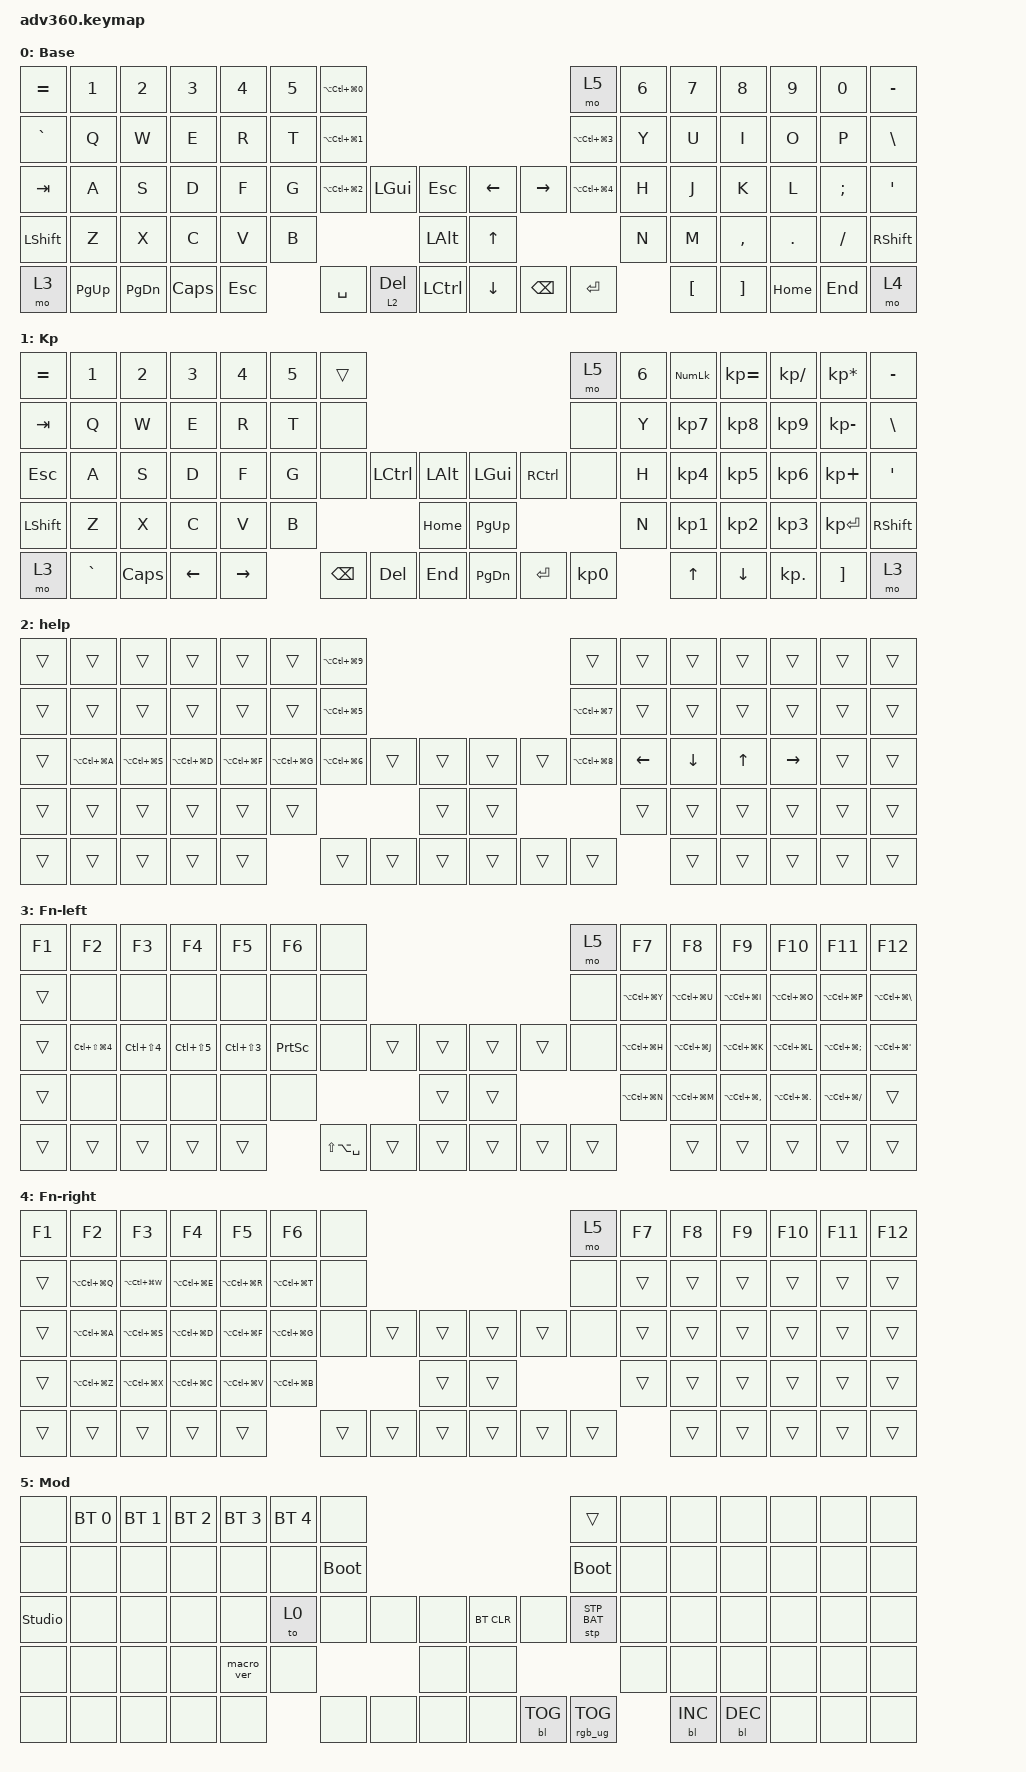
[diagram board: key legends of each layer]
#include <dt-bindings/zmk/stp.h>
#include <behaviors.dtsi>
#include <dt-bindings/zmk/backlight.h>
#include <dt-bindings/zmk/bt.h>
#include <dt-bindings/zmk/keys.h>
#include <dt-bindings/zmk/rgb.h>

/ {
    behaviors {
        #include "macros.dtsi"
      #include "version.dtsi"

        hm: homerow_mods {
            compatible = "zmk,behavior-hold-tap";
            label = "HOMEROW_MODS";
            #binding-cells = <2>;
            tapping-term-ms = <200>;
            quick_tap_ms = <175>;
            flavor = "tap-preferred";
            bindings = <&kp>, <&kp>;
        };

        ht_layer: ht_layer {
            compatible = "zmk,behavior-hold-tap";
            label = "HT_LAYER";
            bindings = <&mo>, <&kp>;

            #binding-cells = <2>;
            tapping-term-ms = <300>;
            flavor = "tap-preferred";
        };
    };

    macros {
        new_macro: new_macro {
            compatible = "zmk,behavior-macro";
            #binding-cells = <0>;
            bindings = <&caps_word>;
            label = "NEW_MACRO";
        };
    };

    keymap {
        compatible = "zmk,keymap";

        default_layer {
            display-name = "Base";
            bindings = <
&kp EQUAL  &kp N1       &kp N2         &kp N3    &kp N4      &kp N5  &kp LA(LC(LG(N0)))                                                                         &mo 5               &kp N6  &kp N7            &kp N8             &kp N9    &kp N0    &kp MINUS
&kp GRAVE  &kp Q        &kp W          &kp E     &kp R       &kp T   &kp LA(LC(LG(N1)))                                                                         &kp LA(LC(LG(N3)))  &kp Y   &kp U             &kp I              &kp O     &kp P     &kp BSLH
&kp TAB    &kp A        &kp S          &kp D     &kp F       &kp G   &kp LA(LC(LG(N2)))  &kp LGUI            &kp ESCAPE        &kp LEFT_ARROW  &kp RIGHT_ARROW  &kp LA(LC(LG(N4)))  &kp H   &kp J             &kp K              &kp L     &kp SEMI  &kp SQT
&kp LSHFT  &kp Z        &kp X          &kp C     &kp V       &kp B                                           &kp LEFT_ALT      &kp UP_ARROW                                         &kp N   &kp M             &kp COMMA          &kp DOT   &kp FSLH  &kp RSHFT
&mo 3      &kp PAGE_UP  &kp PAGE_DOWN  &kp CAPS  &kp ESCAPE          &kp SPACE           &ht_layer 2 DELETE  &kp LCTRL         &kp DOWN_ARROW  &kp BACKSPACE    &kp ENTER                   &kp LEFT_BRACKET  &kp RIGHT_BRACKET  &kp HOME  &kp END   &mo 4
            >;
        };

        keypad {
            display-name = "Kp";
            bindings = <
&kp EQUAL  &kp N1     &kp N2    &kp N3    &kp N4     &kp N5  &trans                                                   &mo 5      &kp N6  &kp KP_NUM  &kp KP_EQUAL  &kp KP_DIVIDE  &kp KP_MULTIPLY  &kp MINUS
&kp TAB    &kp Q      &kp W     &kp E     &kp R      &kp T   &none                                                    &none      &kp Y   &kp KP_N7   &kp KP_N8     &kp KP_N9      &kp KP_MINUS     &kp BSLH
&kp ESC    &kp A      &kp S     &kp D     &kp F      &kp G   &none     &kp LCTRL  &kp LALT      &kp LGUI   &kp RCTRL  &none      &kp H   &kp KP_N4   &kp KP_N5     &kp KP_N6      &kp KP_PLUS      &kp SQT
&kp LSHFT  &kp Z      &kp X     &kp C     &kp V      &kp B                        &kp HOME      &kp PG_UP                        &kp N   &kp KP_N1   &kp KP_N2     &kp KP_N3      &kp KP_ENTER     &kp RSHFT
&mo 3      &kp GRAVE  &kp CAPS  &kp LEFT  &kp RIGHT          &kp BSPC  &kp DEL    &kp END       &kp PG_DN  &kp ENTER  &kp KP_N0          &kp UP      &kp DOWN      &kp KP_DOT     &kp RBKT         &mo 3
            >;
        };

        help {
            bindings = <
&trans  &trans             &trans             &trans             &trans             &trans             &kp LA(LC(LG(N9)))                                      &trans              &trans    &trans    &trans  &trans     &trans  &trans
&trans  &trans             &trans             &trans             &trans             &trans             &kp LA(LC(LG(N5)))                                      &kp LA(LC(LG(N7)))  &trans    &trans    &trans  &trans     &trans  &trans
&trans  &kp LA(LC(LG(A)))  &kp LA(LC(LG(S)))  &kp LA(LC(LG(D)))  &kp LA(LC(LG(F)))  &kp LA(LC(LG(G)))  &kp LA(LC(LG(N6)))  &trans  &trans      &trans  &trans  &kp LA(LC(LG(N8)))  &kp LEFT  &kp DOWN  &kp UP  &kp RIGHT  &trans  &trans
&trans  &trans             &trans             &trans             &trans             &trans                                         &trans      &trans                              &trans    &trans    &trans  &trans     &trans  &trans
&trans  &trans             &trans             &trans             &trans                                &trans              &trans  &trans      &trans  &trans  &trans                        &trans    &trans  &trans     &trans  &trans
            >;
        };

        fn-l {
            display-name = "Fn-left";
            bindings = <
&kp F1  &kp F2              &kp F3          &kp F4          &kp F5          &kp F6           &none                                                  &mo 5   &kp F7             &kp F8             &kp F9                 &kp F10              &kp F11               &kp F12
&trans  &none               &none           &none           &none           &none            &none                                                  &none   &kp LA(LC(LG(Y)))  &kp LA(LC(LG(U)))  &kp LA(LC(LG(I)))      &kp LA(LC(LG(O)))    &kp LA(LC(LG(P)))     &kp LA(LC(LG(BSLH)))
&trans  &kp LC(LS(LG(N4)))  &kp LC(LS(N4))  &kp LC(LS(N5))  &kp LC(LS(N3))  &kp PRINTSCREEN  &none              &trans  &trans      &trans  &trans  &none   &kp LA(LC(LG(H)))  &kp LA(LC(LG(J)))  &kp LA(LC(LG(K)))      &kp LA(LC(LG(L)))    &kp LA(LC(LG(SEMI)))  &kp LA(LC(LG(APOS)))
&trans  &none               &none           &none           &none           &none                                       &trans      &trans                  &kp LA(LC(LG(N)))  &kp LA(LC(LG(M)))  &kp LA(LC(LG(COMMA)))  &kp LA(LC(LG(DOT)))  &kp LA(LC(LG(FSLH)))  &trans
&trans  &trans              &trans          &trans          &trans                           &kp LS(LA(SPACE))  &trans  &trans      &trans  &trans  &trans                     &trans             &trans                 &trans               &trans                &trans
            >;
        };

        fn-r {
            display-name = "Fn-right";
            bindings = <
&kp F1  &kp F2             &kp F3             &kp F4             &kp F5             &kp F6             &none                                       &mo 5   &kp F7  &kp F8  &kp F9  &kp F10  &kp F11  &kp F12
&trans  &kp LA(LC(LG(Q)))  &kp LA(LC(LG(W)))  &kp LA(LC(LG(E)))  &kp LA(LC(LG(R)))  &kp LA(LC(LG(T)))  &none                                       &none   &trans  &trans  &trans  &trans   &trans   &trans
&trans  &kp LA(LC(LG(A)))  &kp LA(LC(LG(S)))  &kp LA(LC(LG(D)))  &kp LA(LC(LG(F)))  &kp LA(LC(LG(G)))  &none   &trans  &trans      &trans  &trans  &none   &trans  &trans  &trans  &trans   &trans   &trans
&trans  &kp LA(LC(LG(Z)))  &kp LA(LC(LG(X)))  &kp LA(LC(LG(C)))  &kp LA(LC(LG(V)))  &kp LA(LC(LG(B)))                  &trans      &trans                  &trans  &trans  &trans  &trans   &trans   &trans
&trans  &trans             &trans             &trans             &trans                                &trans  &trans  &trans      &trans  &trans  &trans          &trans  &trans  &trans   &trans   &trans
            >;
        };

        mod {
            display-name = "Mod";
            bindings = <
&none           &bt BT_SEL 0  &bt BT_SEL 1  &bt BT_SEL 2  &bt BT_SEL 3  &bt BT_SEL 4  &none                                                  &trans           &none  &none       &none       &none  &none  &none
&none           &none         &none         &none         &none         &none         &bootloader                                            &bootloader      &none  &none       &none       &none  &none  &none
&studio_unlock  &none         &none         &none         &none         &to 0         &none        &none  &none      &bt BT_CLR  &none       &stp STP_BAT     &none  &none       &none       &none  &none  &none
&none           &none         &none         &none         &macro_ver    &none                             &none      &none                                    &none  &none       &none       &none  &none  &none
&none           &none         &none         &none         &none                       &none        &none  &none      &none       &bl BL_TOG  &rgb_ug RGB_TOG         &bl BL_INC  &bl BL_DEC  &none  &none  &none
            >;
        };
    };
};
